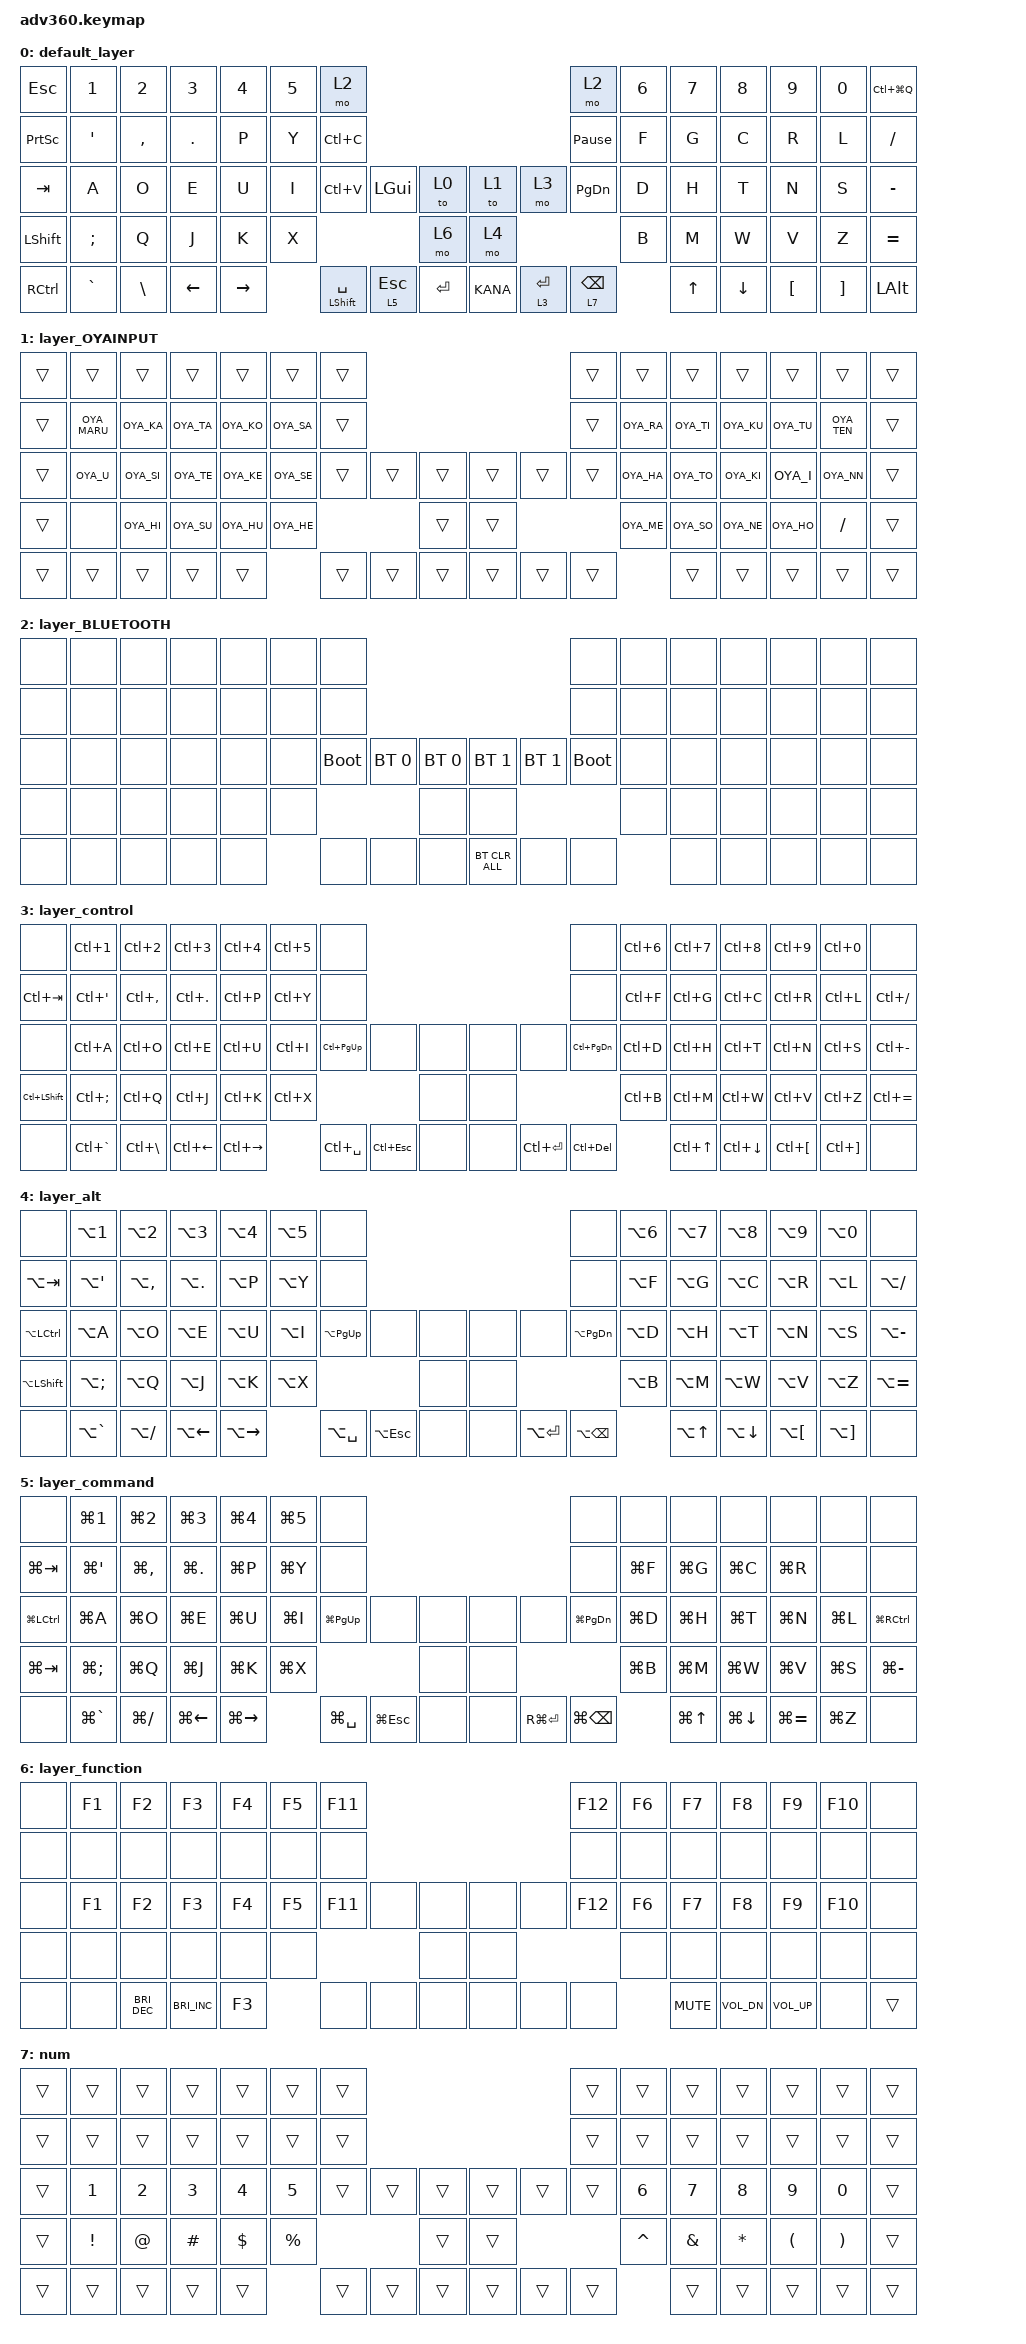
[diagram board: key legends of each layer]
/*
 * Copyright (c) 2020 The ZMK Contributors
 *
 * SPDX-License-Identifier: MIT
 */
/* THIS FILE WAS GENERATED!
 *
 * This file was generated automatically. You may or may not want to
 * edit it directly.
 */

#include <behaviors.dtsi>
#include <dt-bindings/zmk/bt.h>
#include <dt-bindings/zmk/keys.h>

&lt { quick-tap-ms = <200>; };

/ {
    behaviors {
        #include "macros.dtsi"
    #include "version.dtsi"

        hm: homerow_mods {
            compatible = "zmk,behavior-hold-tap";
            label = "HOMEROW_MODS";
            #binding-cells = <2>;
            tapping-term-ms = <200>;
            quick_tap_ms = <175>;
            flavor = "tap-preferred";
            bindings = <&kp>, <&kp>;
        };
    };

    combos {
        compatible = "zmk,combos";

        CMB_XA {
            bindings = <&OYA_XA>;
            key-positions = <65 15>;
        };

        CMB_E {
            bindings = <&OYA_E>;
            key-positions = <65 16>;
        };

        CMB_RI {
            bindings = <&OYA_RI>;
            key-positions = <65 17>;
        };

        CMB_XYA {
            bindings = <&OYA_XYA>;
            key-positions = <65 18>;
        };

        CMB_RE {
            bindings = <&OYA_RE>;
            key-positions = <65 19>;
        };

        CMB_WO {
            bindings = <&OYA_WO>;
            key-positions = <65 29>;
        };

        CMB_A {
            bindings = <&OYA_A>;
            key-positions = <65 30>;
        };

        CMB_NA {
            bindings = <&OYA_NA>;
            key-positions = <65 31>;
        };

        CMB_XYU {
            bindings = <&OYA_XYU>;
            key-positions = <65 32>;
        };

        CMB_MO {
            bindings = <&OYA_MO>;
            key-positions = <65 33>;
        };

        CMB_XU {
            bindings = <&OYA_XU>;
            key-positions = <65 47>;
        };

        CMB_TYOUONPU {
            bindings = <&OYA_TYOUONPU>;
            key-positions = <65 48>;
        };

        CMB_RO {
            bindings = <&OYA_RO>;
            key-positions = <65 49>;
        };

        CMB_YA {
            bindings = <&OYA_YA>;
            key-positions = <65 50>;
        };

        CMB_XI {
            bindings = <&OYA_XI>;
            key-positions = <65 51>;
        };

        CMB_YO {
            bindings = <&OYA_YO>;
            key-positions = <70 22>;
        };

        CMB_NI {
            bindings = <&OYA_NI>;
            key-positions = <70 23>;
        };

        CMB_RU {
            bindings = <&OYA_RU>;
            key-positions = <70 24>;
        };

        CMB_MA {
            bindings = <&OYA_MA>;
            key-positions = <70 25>;
        };

        CMB_XE {
            bindings = <&OYA_XE>;
            key-positions = <70 26>;
        };

        CMB_MI {
            bindings = <&OYA_MI>;
            key-positions = <70 40>;
        };

        CMB_O {
            bindings = <&OYA_O>;
            key-positions = <70 41>;
        };

        CMB_NO {
            bindings = <&OYA_NO>;
            key-positions = <70 42>;
        };

        CMB_XYO {
            bindings = <&OYA_XYO>;
            key-positions = <70 43>;
        };

        CMB_XTU {
            bindings = <&OYA_XTU>;
            key-positions = <70 44>;
        };

        CMB_NU {
            bindings = <&OYA_NU>;
            key-positions = <70 54>;
        };

        CMB_YU {
            bindings = <&OYA_YU>;
            key-positions = <70 55>;
        };

        CMB_MU {
            bindings = <&OYA_MU>;
            key-positions = <70 56>;
        };

        CMB_WA {
            bindings = <&OYA_WA>;
            key-positions = <70 57>;
        };

        CMB_XO {
            bindings = <&OYA_XO>;
            key-positions = <70 58>;
        };

        CMB_GA {
            bindings = <&OYA_GA>;
            key-positions = <70 16>;
        };

        CMB_DA {
            bindings = <&OYA_DA>;
            key-positions = <70 17>;
        };

        CMB_GO {
            bindings = <&OYA_GO>;
            key-positions = <70 18>;
        };

        CMB_ZA {
            bindings = <&OYA_ZA>;
            key-positions = <70 19>;
        };

        CMB_ {
            bindings = <&OYA_XO>;
            key-positions = <70 29>;
        };

        CMB_ZI {
            bindings = <&OYA_ZI>;
            key-positions = <70 30>;
        };

        CMB_DE {
            bindings = <&OYA_DE>;
            key-positions = <70 31>;
        };

        CMB_GE {
            bindings = <&OYA_GE>;
            key-positions = <70 32>;
        };

        CMB_ZE {
            bindings = <&OYA_ZE>;
            key-positions = <70 33>;
        };

        CMB_BI {
            bindings = <&OYA_BI>;
            key-positions = <70 48>;
        };

        CMB_ZU {
            bindings = <&OYA_ZU>;
            key-positions = <70 49>;
        };

        CMB_BU {
            bindings = <&OYA_BU>;
            key-positions = <70 50>;
        };

        CMB_BE {
            bindings = <&OYA_BE>;
            key-positions = <70 51>;
        };

        CMB_PA {
            bindings = <&OYA_PA>;
            key-positions = <65 22>;
        };

        CMB_DI {
            bindings = <&OYA_DI>;
            key-positions = <65 23>;
        };

        CMB_GU {
            bindings = <&OYA_GU>;
            key-positions = <65 24>;
        };

        CMB_DU {
            bindings = <&OYA_DU>;
            key-positions = <65 25>;
        };

        CMB_PI {
            bindings = <&OYA_PI>;
            key-positions = <65 26>;
        };

        CMB_BA {
            bindings = <&OYA_BA>;
            key-positions = <65 40>;
        };

        CMB_DO {
            bindings = <&OYA_DO>;
            key-positions = <65 41>;
        };

        CMB_GI {
            bindings = <&OYA_GI>;
            key-positions = <65 42>;
        };

        CMB_PO {
            bindings = <&OYA_PO>;
            key-positions = <65 43>;
        };

        CMB_PU {
            bindings = <&OYA_PU>;
            key-positions = <65 54>;
        };

        CMB_ZO {
            bindings = <&OYA_ZO>;
            key-positions = <65 55>;
        };

        CMB_PE {
            bindings = <&OYA_PE>;
            key-positions = <65 56>;
        };

        CMB_BO {
            bindings = <&OYA_BO>;
            key-positions = <65 57>;
        };

        CMB_MUHENKAN {
            bindings = <&EISU>;
            key-positions = <30 31>;
        };

        CMB_HENKAN {
            bindings = <&KANA>;
            key-positions = <42 43>;
        };
    };

    macros {
        KANA: KANA {
            compatible = "zmk,behavior-macro";
            #binding-cells = <0>;
            bindings = <&to 1 &kp PAUSE_BREAK>;
            label = "KANA";
        };

        EISU: EISU {
            compatible = "zmk,behavior-macro";
            #binding-cells = <0>;
            bindings = <&to 0 &kp SCROLLLOCK>;
            label = "EISU";
        };

        OYA_A: OYA_A {
            compatible = "zmk,behavior-macro";
            #binding-cells = <0>;
            bindings = <&kp A>;
            label = "OYA_A";
        };

        OYA_I: OYA_I {
            compatible = "zmk,behavior-macro";
            #binding-cells = <0>;
            bindings = <&kp I>;
            label = "OYA_I";
        };

        OYA_U: OYA_U {
            compatible = "zmk,behavior-macro";
            #binding-cells = <0>;
            bindings = <&kp U>;
            label = "OYA_U";
        };

        OYA_E: OYA_E {
            compatible = "zmk,behavior-macro";
            #binding-cells = <0>;
            bindings = <&kp E>;
            label = "OYA_E";
        };

        OYA_O: OYA_O {
            compatible = "zmk,behavior-macro";
            #binding-cells = <0>;
            bindings = <&kp O>;
            label = "OYA_O";
        };

        OYA_KA: OYA_KA {
            compatible = "zmk,behavior-macro";
            #binding-cells = <0>;
            bindings = <&kp K &kp A>;
            label = "OYA_KA";
        };

        OYA_KI: OYA_KI {
            compatible = "zmk,behavior-macro";
            #binding-cells = <0>;
            bindings = <&kp K &kp I>;
            label = "OYA_KI";
        };

        OYA_KU: OYA_KU {
            compatible = "zmk,behavior-macro";
            #binding-cells = <0>;
            bindings = <&kp K &kp U>;
            label = "OYA_KU";
        };

        OYA_KE: OYA_KE {
            compatible = "zmk,behavior-macro";
            #binding-cells = <0>;
            bindings = <&kp K &kp E>;
            label = "OYA_KE";
        };

        OYA_KO: OYA_KO {
            compatible = "zmk,behavior-macro";
            #binding-cells = <0>;
            bindings = <&kp K &kp O>;
            label = "OYA_KO";
        };

        OYA_SA: OYA_SA {
            compatible = "zmk,behavior-macro";
            #binding-cells = <0>;
            bindings = <&kp S &kp A>;
            label = "OYA_SA";
        };

        OYA_SI: OYA_SI {
            compatible = "zmk,behavior-macro";
            #binding-cells = <0>;
            bindings = <&kp S &kp I>;
            label = "OYA_SI";
        };

        OYA_SU: OYA_SU {
            compatible = "zmk,behavior-macro";
            #binding-cells = <0>;
            bindings = <&kp S &kp U>;
            label = "OYA_SU";
        };

        OYA_SE: OYA_SE {
            compatible = "zmk,behavior-macro";
            #binding-cells = <0>;
            bindings = <&kp S &kp E>;
            label = "OYA_SE";
        };

        OYA_SO: OYA_SO {
            compatible = "zmk,behavior-macro";
            #binding-cells = <0>;
            bindings = <&kp S &kp O>;
            label = "OYA_SO";
        };

        OYA_TA: OYA_TA {
            compatible = "zmk,behavior-macro";
            #binding-cells = <0>;
            bindings = <&kp T &kp A>;
            label = "OYA_TA";
        };

        OYA_TI: OYA_TI {
            compatible = "zmk,behavior-macro";
            #binding-cells = <0>;
            bindings = <&kp T &kp I>;
            label = "OYA_TI";
        };

        OYA_TU: OYA_TU {
            compatible = "zmk,behavior-macro";
            #binding-cells = <0>;
            bindings = <&kp T &kp U>;
            label = "OYA_TU";
        };

        OYA_TE: OYA_TE {
            compatible = "zmk,behavior-macro";
            #binding-cells = <0>;
            bindings = <&kp T &kp E>;
            label = "OYA_TE";
        };

        OYA_TO: OYA_TO {
            compatible = "zmk,behavior-macro";
            #binding-cells = <0>;
            bindings = <&kp T &kp O>;
            label = "OYA_TO";
        };

        OYA_NA: OYA_NA {
            compatible = "zmk,behavior-macro";
            #binding-cells = <0>;
            bindings = <&kp N &kp A>;
            label = "OYA_NA";
        };

        OYA_NI: OYA_NI {
            compatible = "zmk,behavior-macro";
            #binding-cells = <0>;
            bindings = <&kp N &kp I>;
            label = "OYA_NI";
        };

        OYA_NU: OYA_NU {
            compatible = "zmk,behavior-macro";
            #binding-cells = <0>;
            bindings = <&kp N &kp U>;
            label = "OYA_NU";
        };

        OYA_NE: OYA_NE {
            compatible = "zmk,behavior-macro";
            #binding-cells = <0>;
            bindings = <&kp N &kp E>;
            label = "OYA_NE";
        };

        OYA_NO: OYA_NO {
            compatible = "zmk,behavior-macro";
            #binding-cells = <0>;
            bindings = <&kp N &kp O>;
            label = "OYA_NO";
        };

        OYA_HA: OYA_HA {
            compatible = "zmk,behavior-macro";
            #binding-cells = <0>;
            bindings = <&kp H &kp A>;
            label = "OYA_HA";
        };

        OYA_HI: OYA_HI {
            compatible = "zmk,behavior-macro";
            #binding-cells = <0>;
            bindings = <&kp H &kp I>;
            label = "OYA_HI";
        };

        OYA_HU: OYA_HU {
            compatible = "zmk,behavior-macro";
            #binding-cells = <0>;
            bindings = <&kp H &kp U>;
            label = "OYA_HU";
        };

        OYA_HE: OYA_HE {
            compatible = "zmk,behavior-macro";
            #binding-cells = <0>;
            bindings = <&kp H &kp E>;
            label = "OYA_HE";
        };

        OYA_HO: OYA_HO {
            compatible = "zmk,behavior-macro";
            #binding-cells = <0>;
            bindings = <&kp H &kp O>;
            label = "OYA_HO";
        };

        OYA_MA: OYA_MA {
            compatible = "zmk,behavior-macro";
            #binding-cells = <0>;
            bindings = <&kp M &kp A>;
            label = "OYA_MA";
        };

        OYA_MI: OYA_MI {
            compatible = "zmk,behavior-macro";
            #binding-cells = <0>;
            bindings = <&kp M &kp I>;
            label = "OYA_MI";
        };

        OYA_MU: OYA_MU {
            compatible = "zmk,behavior-macro";
            #binding-cells = <0>;
            bindings = <&kp M &kp U>;
            label = "OYA_MU";
        };

        OYA_ME: OYA_ME {
            compatible = "zmk,behavior-macro";
            #binding-cells = <0>;
            bindings = <&kp M &kp E>;
            label = "OYA_ME";
        };

        OYA_MO: OYA_MO {
            compatible = "zmk,behavior-macro";
            #binding-cells = <0>;
            bindings = <&kp M &kp O>;
            label = "OYA_MO";
        };

        OYA_YA: OYA_YA {
            compatible = "zmk,behavior-macro";
            #binding-cells = <0>;
            bindings = <&kp Y &kp A>;
            label = "OYA_YA";
        };

        OYA_YU: OYA_YU {
            compatible = "zmk,behavior-macro";
            #binding-cells = <0>;
            bindings = <&kp Y &kp U>;
            label = "OYA_YU";
        };

        OYA_YO: OYA_YO {
            compatible = "zmk,behavior-macro";
            #binding-cells = <0>;
            bindings = <&kp Y &kp O>;
            label = "OYA_YO";
        };

        OYA_RA: OYA_RA {
            compatible = "zmk,behavior-macro";
            #binding-cells = <0>;
            bindings = <&kp R &kp A>;
            label = "OYA_RA";
        };

        OYA_RI: OYA_RI {
            compatible = "zmk,behavior-macro";
            #binding-cells = <0>;
            bindings = <&kp R &kp I>;
            label = "OYA_RI";
        };

        OYA_RU: OYA_RU {
            compatible = "zmk,behavior-macro";
            #binding-cells = <0>;
            bindings = <&kp R &kp U>;
            label = "OYA_RU";
        };

        OYA_RE: OYA_RE {
            compatible = "zmk,behavior-macro";
            #binding-cells = <0>;
            bindings = <&kp R &kp E>;
            label = "OYA_RE";
        };

        OYA_RO: OYA_RO {
            compatible = "zmk,behavior-macro";
            #binding-cells = <0>;
            bindings = <&kp R &kp O>;
            label = "OYA_RO";
        };

        OYA_WA: OYA_WA {
            compatible = "zmk,behavior-macro";
            #binding-cells = <0>;
            bindings = <&kp W &kp A>;
            label = "OYA_WA";
        };

        OYA_WO: OYA_WO {
            compatible = "zmk,behavior-macro";
            #binding-cells = <0>;
            bindings = <&kp W &kp O>;
            label = "OYA_WO";
        };

        OYA_NN: OYA_NN {
            compatible = "zmk,behavior-macro";
            #binding-cells = <0>;
            bindings = <&kp N &kp N>;
            label = "OYA_NN";
        };

        OYA_XA: OYA_XA {
            compatible = "zmk,behavior-macro";
            #binding-cells = <0>;
            bindings = <&kp X &kp A>;
            label = "OYA_XA";
        };

        OYA_XI: OYA_XI {
            compatible = "zmk,behavior-macro";
            #binding-cells = <0>;
            bindings = <&kp X &kp I>;
            label = "OYA_XI";
        };

        OYA_XU: OYA_XU {
            compatible = "zmk,behavior-macro";
            #binding-cells = <0>;
            bindings = <&kp X &kp U>;
            label = "OYA_XU";
        };

        OYA_XE: OYA_XE {
            compatible = "zmk,behavior-macro";
            #binding-cells = <0>;
            bindings = <&kp X &kp E>;
            label = "OYA_XE";
        };

        OYA_XO: OYA_XO {
            compatible = "zmk,behavior-macro";
            #binding-cells = <0>;
            bindings = <&kp X &kp O>;
            label = "OYA_XO";
        };

        OYA_TEN: OYA_TEN {
            compatible = "zmk,behavior-macro";
            #binding-cells = <0>;
            bindings = <&kp COMMA>;
            label = "OYA_TEN";
        };

        OYA_MARU: OYA_MARU {
            compatible = "zmk,behavior-macro";
            #binding-cells = <0>;
            bindings = <&kp PERIOD>;
            label = "OYA_MARU";
        };

        OYA_TYOUONPU: OYA_TYOUONPU {
            compatible = "zmk,behavior-macro";
            #binding-cells = <0>;
            bindings = <&kp MINUS>;
            label = "OYA_TYOUONPU";
        };

        OYA_XTU: OYA_XTU {
            compatible = "zmk,behavior-macro";
            #binding-cells = <0>;
            bindings = <&kp X &kp T &kp U>;
            label = "OYA_XTU";
        };

        OYA_XYA: OYA_XYA {
            compatible = "zmk,behavior-macro";
            #binding-cells = <0>;
            bindings = <&kp X &kp Y &kp A>;
            label = "OYA_XYA";
        };

        OYA_XYU: OYA_XYU {
            compatible = "zmk,behavior-macro";
            #binding-cells = <0>;
            bindings = <&kp X &kp Y &kp U>;
            label = "OYA_XYU";
        };

        OYA_XYO: OYA_XYO {
            compatible = "zmk,behavior-macro";
            #binding-cells = <0>;
            bindings = <&kp X &kp Y &kp O>;
            label = "OYA_XYO";
        };

        OYA_GA: OYA_GA {
            compatible = "zmk,behavior-macro";
            #binding-cells = <0>;
            bindings = <&kp G &kp A>;
            label = "OYA_GA";
        };

        OYA_GI: OYA_GI {
            compatible = "zmk,behavior-macro";
            #binding-cells = <0>;
            bindings = <&kp G &kp I>;
            label = "OYA_GI";
        };

        OYA_GU: OYA_GU {
            compatible = "zmk,behavior-macro";
            #binding-cells = <0>;
            bindings = <&kp G &kp U>;
            label = "OYA_GU";
        };

        OYA_GE: OYA_GE {
            compatible = "zmk,behavior-macro";
            #binding-cells = <0>;
            bindings = <&kp G &kp E>;
            label = "OYA_GE";
        };

        OYA_GO: OYA_GO {
            compatible = "zmk,behavior-macro";
            #binding-cells = <0>;
            bindings = <&kp G &kp O>;
            label = "OYA_GO";
        };

        OYA_ZA: OYA_ZA {
            compatible = "zmk,behavior-macro";
            #binding-cells = <0>;
            bindings = <&kp Z &kp A>;
            label = "OYA_ZA";
        };

        OYA_ZI: OYA_ZI {
            compatible = "zmk,behavior-macro";
            #binding-cells = <0>;
            bindings = <&kp Z &kp I>;
            label = "OYA_ZI";
        };

        OYA_ZU: OYA_ZU {
            compatible = "zmk,behavior-macro";
            #binding-cells = <0>;
            bindings = <&kp Z &kp U>;
            label = "OYA_ZU";
        };

        OYA_ZE: OYA_ZE {
            compatible = "zmk,behavior-macro";
            #binding-cells = <0>;
            bindings = <&kp Z &kp E>;
            label = "OYA_ZE";
        };

        OYA_ZO: OYA_ZO {
            compatible = "zmk,behavior-macro";
            #binding-cells = <0>;
            bindings = <&kp Z &kp O>;
            label = "OYA_ZO";
        };

        OYA_DA: OYA_DA {
            compatible = "zmk,behavior-macro";
            #binding-cells = <0>;
            bindings = <&kp D &kp A>;
            label = "OYA_DA";
        };

        OYA_DI: OYA_DI {
            compatible = "zmk,behavior-macro";
            #binding-cells = <0>;
            bindings = <&kp D &kp I>;
            label = "OYA_DI";
        };

        OYA_DU: OYA_DU {
            compatible = "zmk,behavior-macro";
            #binding-cells = <0>;
            bindings = <&kp D &kp U>;
            label = "OYA_DU";
        };

        OYA_DE: OYA_DE {
            compatible = "zmk,behavior-macro";
            #binding-cells = <0>;
            bindings = <&kp D &kp E>;
            label = "OYA_DE";
        };

        OYA_DO: OYA_DO {
            compatible = "zmk,behavior-macro";
            #binding-cells = <0>;
            bindings = <&kp D &kp O>;
            label = "OYA_DO";
        };

        OYA_BA: OYA_BA {
            compatible = "zmk,behavior-macro";
            #binding-cells = <0>;
            bindings = <&kp B &kp A>;
            label = "OYA_BA";
        };

        OYA_BI: OYA_BI {
            compatible = "zmk,behavior-macro";
            #binding-cells = <0>;
            bindings = <&kp B &kp I>;
            label = "OYA_BI";
        };

        OYA_BU: OYA_BU {
            compatible = "zmk,behavior-macro";
            #binding-cells = <0>;
            bindings = <&kp B &kp U>;
            label = "OYA_BU";
        };

        OYA_BE: OYA_BE {
            compatible = "zmk,behavior-macro";
            #binding-cells = <0>;
            bindings = <&kp B &kp E>;
            label = "OYA_BE";
        };

        OYA_BO: OYA_BO {
            compatible = "zmk,behavior-macro";
            #binding-cells = <0>;
            bindings = <&kp B &kp O>;
            label = "OYA_BO";
        };

        OYA_PA: OYA_PA {
            compatible = "zmk,behavior-macro";
            #binding-cells = <0>;
            bindings = <&kp P &kp A>;
            label = "OYA_PA";
        };

        OYA_PI: OYA_PI {
            compatible = "zmk,behavior-macro";
            #binding-cells = <0>;
            bindings = <&kp P &kp I>;
            label = "OYA_PI";
        };

        OYA_PU: OYA_PU {
            compatible = "zmk,behavior-macro";
            #binding-cells = <0>;
            bindings = <&kp P &kp U>;
            label = "OYA_PU";
        };

        OYA_PE: OYA_PE {
            compatible = "zmk,behavior-macro";
            #binding-cells = <0>;
            bindings = <&kp P &kp E>;
            label = "OYA_PE";
        };

        OYA_PO: OYA_PO {
            compatible = "zmk,behavior-macro";
            #binding-cells = <0>;
            bindings = <&kp P &kp O>;
            label = "OYA_PO";
        };
    };

    keymap {
        compatible = "zmk,keymap";

        default_layer {
            bindings = <
&kp ESCAPE       &kp NUMBER_1      &kp NUMBER_2   &kp NUMBER_3  &kp NUMBER_4  &kp NUMBER_5  &mo 2                                                               &mo 2            &kp NUMBER_6  &kp NUMBER_7  &kp NUMBER_8  &kp NUMBER_9      &kp NUMBER_0       &kp LC(LG(Q))
&kp PRINTSCREEN  &kp SINGLE_QUOTE  &kp COMMA      &kp PERIOD    &kp P         &kp Y         &kp LC(C)                                                           &kp PAUSE_BREAK  &kp F         &kp G         &kp C         &kp R             &kp L              &kp SLASH
&kp TAB          &kp A             &kp O          &kp E         &kp U         &kp I         &kp LC(V)             &kp LGUI   &to 0          &to 1  &mo 3        &kp PG_DN        &kp D         &kp H         &kp T         &kp N             &kp S              &kp MINUS
&kp LSHIFT       &kp SEMICOLON     &kp Q          &kp J         &kp K         &kp X                                          &mo 6          &mo 4                                &kp B         &kp M         &kp W         &kp V             &kp Z              &kp EQUAL
&kp RCTRL        &kp GRAVE         &kp BACKSLASH  &kp LEFT      &kp RIGHT                   &mt LEFT_SHIFT SPACE  &lt 5 ESC  &kp ENTER      &KANA  &lt 3 ENTER  &lt 7 BACKSPACE                &kp UP        &kp DOWN      &kp LEFT_BRACKET  &kp RIGHT_BRACKET  &kp LEFT_ALT
            >;
        };

        layer_OYAINPUT {
            bindings = <
&trans  &trans     &trans   &trans   &trans   &trans   &trans                                      &trans  &trans   &trans   &trans   &trans   &trans     &trans
&trans  &OYA_MARU  &OYA_KA  &OYA_TA  &OYA_KO  &OYA_SA  &trans                                      &trans  &OYA_RA  &OYA_TI  &OYA_KU  &OYA_TU  &OYA_TEN   &trans
&trans  &OYA_U     &OYA_SI  &OYA_TE  &OYA_KE  &OYA_SE  &trans  &trans  &trans      &trans  &trans  &trans  &OYA_HA  &OYA_TO  &OYA_KI  &OYA_I   &OYA_NN    &trans
&trans  &none      &OYA_HI  &OYA_SU  &OYA_HU  &OYA_HE                  &trans      &trans                  &OYA_ME  &OYA_SO  &OYA_NE  &OYA_HO  &kp SLASH  &trans
&trans  &trans     &trans   &trans   &trans            &trans  &trans  &trans      &trans  &trans  &trans           &trans   &trans   &trans   &trans     &trans
            >;
        };

        layer_BLUETOOTH {
            bindings = <
&none  &none  &none  &none  &none  &none  &none                                                                      &none        &none  &none  &none  &none  &none  &none
&none  &none  &none  &none  &none  &none  &none                                                                      &none        &none  &none  &none  &none  &none  &none
&none  &none  &none  &none  &none  &none  &bootloader  &bt BT_SEL 0  &bt BT_SEL 0      &bt BT_SEL 1    &bt BT_SEL 1  &bootloader  &none  &none  &none  &none  &none  &none
&none  &none  &none  &none  &none  &none                             &none             &none                                      &none  &none  &none  &none  &none  &none
&none  &none  &none  &none  &none         &none        &none         &none             &bt BT_CLR_ALL  &none         &none               &none  &none  &none  &none  &none
            >;
        };

        layer_control {
            bindings = <
&none          &kp LC(NUMBER_1)      &kp LC(NUMBER_2)   &kp LC(NUMBER_3)  &kp LC(NUMBER_4)  &kp LC(NUMBER_5)  &none                                                           &none           &kp LC(NUMBER_6)  &kp LC(NUMBER_7)  &kp LC(NUMBER_8)  &kp LC(NUMBER_9)      &kp LC(NUMBER_0)       &none
&kp LC(TAB)    &kp LC(SINGLE_QUOTE)  &kp LC(COMMA)      &kp LC(PERIOD)    &kp LC(P)         &kp LC(Y)         &none                                                           &none           &kp LC(F)         &kp LC(G)         &kp LC(C)         &kp LC(R)             &kp LC(L)              &kp LC(SLASH)
&none          &kp LC(A)             &kp LC(O)          &kp LC(E)         &kp LC(U)         &kp LC(I)         &kp LC(PG_UP)  &none           &none      &none  &none          &kp LC(PG_DN)   &kp LC(D)         &kp LC(H)         &kp LC(T)         &kp LC(N)             &kp LC(S)              &kp LC(MINUS)
&kp LC(LSHFT)  &kp LC(SEMI)          &kp LC(Q)          &kp LC(J)         &kp LC(K)         &kp LC(X)                                        &none      &none                                 &kp LC(B)         &kp LC(M)         &kp LC(W)         &kp LC(V)             &kp LC(Z)              &kp LC(EQUAL)
&none          &kp LC(GRAVE)         &kp LC(BACKSLASH)  &kp LC(LEFT)      &kp LC(RIGHT)                       &kp LC(SPACE)  &kp LC(ESCAPE)  &none      &none  &kp LC(ENTER)  &kp LC(DELETE)                    &kp LC(UP)        &kp LC(DOWN)      &kp LC(LEFT_BRACKET)  &kp LC(RIGHT_BRACKET)  &none
            >;
        };

        layer_alt {
            bindings = <
&none                 &kp LA(NUMBER_1)      &kp LA(NUMBER_2)  &kp LA(NUMBER_3)  &kp LA(NUMBER_4)  &kp LA(N5)  &none                                                           &none              &kp LA(NUMBER_6)  &kp LA(N7)  &kp LA(N8)    &kp LA(N9)            &kp LA(N0)             &none
&kp LA(TAB)           &kp LA(SINGLE_QUOTE)  &kp LA(COMMA)     &kp LA(PERIOD)    &kp LA(P)         &kp LA(Y)   &none                                                           &none              &kp LA(F)         &kp LA(G)   &kp LA(C)     &kp LA(R)             &kp LA(L)              &kp LA(SLASH)
&kp LA(LEFT_CONTROL)  &kp LA(A)             &kp LA(O)         &kp LA(E)         &kp LA(U)         &kp LA(I)   &kp LA(PG_UP)  &none           &none      &none  &none          &kp LA(PG_DN)      &kp LA(D)         &kp LA(H)   &kp LA(T)     &kp LA(N)             &kp LA(S)              &kp LA(MINUS)
&kp LA(LEFT_SHIFT)    &kp LA(SEMI)          &kp LA(Q)         &kp LA(J)         &kp LA(K)         &kp LA(X)                                  &none      &none                                    &kp LA(B)         &kp LA(M)   &kp LA(W)     &kp LA(V)             &kp LA(Z)              &kp LA(EQUAL)
&none                 &kp LA(GRAVE)         &kp LA(SLASH)     &kp LA(LEFT)      &kp LA(RIGHT)                 &kp LA(SPACE)  &kp LA(ESCAPE)  &none      &none  &kp LA(ENTER)  &kp LA(BACKSPACE)                    &kp LA(UP)  &kp LA(DOWN)  &kp LA(LEFT_BRACKET)  &kp LA(RIGHT_BRACKET)  &none
            >;
        };

        layer_command {
            bindings = <
&none                 &kp LG(NUMBER_1)      &kp LG(NUMBER_2)  &kp LG(NUMBER_3)  &kp LG(NUMBER_4)  &kp LG(N5)  &none                                                           &none              &none      &none       &none         &none          &none      &none
&kp LG(TAB)           &kp LG(SINGLE_QUOTE)  &kp LG(COMMA)     &kp LG(PERIOD)    &kp LG(P)         &kp LG(Y)   &none                                                           &none              &kp LG(F)  &kp LG(G)   &kp LG(C)     &kp LG(R)      &none      &none
&kp LG(LEFT_CONTROL)  &kp LG(A)             &kp LG(O)         &kp LG(E)         &kp LG(U)         &kp LG(I)   &kp LG(PG_UP)  &none           &none      &none  &none          &kp LG(PG_DN)      &kp LG(D)  &kp LG(H)   &kp LG(T)     &kp LG(N)      &kp LG(L)  &kp LG(RIGHT_CONTROL)
&kp LG(TAB)           &kp LG(SEMI)          &kp LG(Q)         &kp LG(J)         &kp LG(K)         &kp LG(X)                                  &none      &none                                    &kp LG(B)  &kp LG(M)   &kp LG(W)     &kp LG(V)      &kp LG(S)  &kp LG(MINUS)
&none                 &kp LG(GRAVE)         &kp LG(SLASH)     &kp LG(LEFT)      &kp LG(RIGHT)                 &kp LG(SPACE)  &kp LG(ESCAPE)  &none      &none  &kp RG(ENTER)  &kp LG(BACKSPACE)             &kp LG(UP)  &kp LG(DOWN)  &kp LG(EQUAL)  &kp LG(Z)  &none
            >;
        };

        layer_function {
            bindings = <
&none  &kp F1  &kp F2         &kp F3         &kp F4  &kp F5  &kp F11                                  &kp F12  &kp F6  &kp F7      &kp F8        &kp F9        &kp F10  &none
&none  &none   &none          &none          &none   &none   &none                                    &none    &none   &none       &none         &none         &none    &none
&none  &kp F1  &kp F2         &kp F3         &kp F4  &kp F5  &kp F11  &none  &none      &none  &none  &kp F12  &kp F6  &kp F7      &kp F8        &kp F9        &kp F10  &none
&none  &none   &none          &none          &none   &none                   &none      &none                  &none   &none       &none         &none         &none    &none
&none  &none   &kp C_BRI_DEC  &kp C_BRI_INC  &kp F3          &none    &none  &none      &none  &none  &none            &kp C_MUTE  &kp C_VOL_DN  &kp C_VOL_UP  &none    &trans
            >;
        };

        num {
            bindings = <
&trans  &trans        &trans        &trans        &trans        &trans       &trans                                      &trans  &trans        &trans         &trans     &trans                &trans                 &trans
&trans  &trans        &trans        &trans        &trans        &trans       &trans                                      &trans  &trans        &trans         &trans     &trans                &trans                 &trans
&trans  &kp NUMBER_1  &kp NUMBER_2  &kp NUMBER_3  &kp NUMBER_4  &kp N5       &trans  &trans  &trans      &trans  &trans  &trans  &kp NUMBER_6  &kp N7         &kp N8     &kp N9                &kp N0                 &trans
&trans  &kp EXCL      &kp AT        &kp HASH      &kp DOLLAR    &kp PERCENT                  &trans      &trans                  &kp CARET     &kp AMPERSAND  &kp ASTRK  &kp LEFT_PARENTHESIS  &kp RIGHT_PARENTHESIS  &trans
&trans  &trans        &trans        &trans        &trans                     &trans  &trans  &trans      &trans  &trans  &trans                &trans         &trans     &trans                &trans                 &trans
            >;
        };
    };
};
